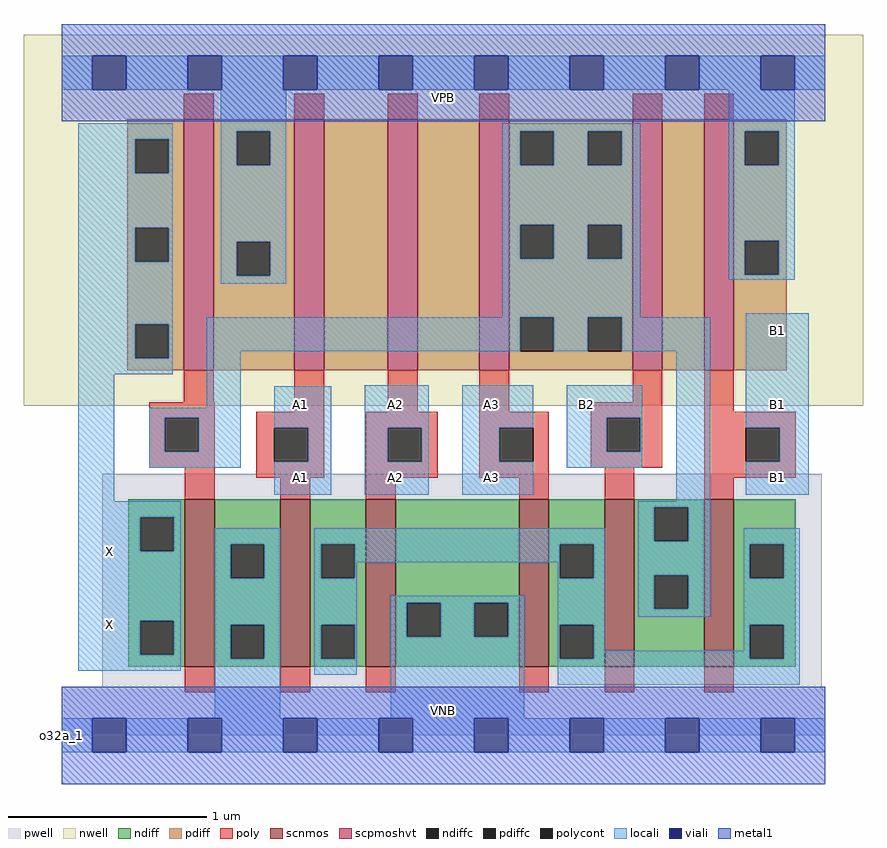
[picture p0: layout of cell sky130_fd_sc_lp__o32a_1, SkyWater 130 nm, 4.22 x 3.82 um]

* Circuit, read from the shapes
.subckt sky130_fd_sc_lp__o32a_1 A1 A2 A3 B1 B2 VGND VNB VPB VPWR X
XM1 VGND n1 X VNB sky130_fd_pr__nfet_01v8 w=0.84 l=0.15
XM2 n2 A1 VGND VNB sky130_fd_pr__nfet_01v8 w=0.84 l=0.15
XM3 VGND A2 n2 VNB sky130_fd_pr__nfet_01v8 w=0.84 l=0.15
XM4 n2 A3 VGND VNB sky130_fd_pr__nfet_01v8 w=0.84 l=0.15
XM5 n1 B2 n2 VNB sky130_fd_pr__nfet_01v8 w=0.84 l=0.15
XM6 n2 B1 n1 VNB sky130_fd_pr__nfet_01v8 w=0.84 l=0.15
XM7 VPWR n1 X VPB sky130_fd_pr__pfet_01v8_hvt w=1.26 l=0.15
XM8 n3 A1 VPWR VPB sky130_fd_pr__pfet_01v8_hvt w=1.26 l=0.15
XM9 n4 A2 n3 VPB sky130_fd_pr__pfet_01v8_hvt w=1.26 l=0.15
XM10 n1 A3 n4 VPB sky130_fd_pr__pfet_01v8_hvt w=1.26 l=0.15
XM11 n5 B2 n1 VPB sky130_fd_pr__pfet_01v8_hvt w=1.26 l=0.15
XM12 VPWR B1 n5 VPB sky130_fd_pr__pfet_01v8_hvt w=1.26 l=0.15
.ends

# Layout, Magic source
magic
tech sky130A
magscale 1 2
<< nwell >>
rect -38 331 806 704
<< pwell >>
rect 41 49 764 263
rect 0 0 768 49
<< scnmos >>
rect 124 69 154 237
rect 220 69 250 237
rect 306 69 336 237
rect 460 69 490 237
rect 546 69 576 237
rect 646 69 676 237
<< scpmoshvt >>
rect 123 367 153 619
rect 234 367 264 619
rect 328 367 358 619
rect 420 367 450 619
rect 574 367 604 619
rect 646 367 676 619
<< ndiff >>
rect 67 219 124 237
rect 67 185 79 219
rect 113 185 124 219
rect 67 115 124 185
rect 67 81 79 115
rect 113 81 124 115
rect 67 69 124 81
rect 154 192 220 237
rect 154 158 170 192
rect 204 158 220 192
rect 154 111 220 158
rect 154 77 170 111
rect 204 77 220 111
rect 154 69 220 77
rect 250 192 306 237
rect 250 158 261 192
rect 295 158 306 192
rect 250 111 306 158
rect 250 77 261 111
rect 295 77 306 111
rect 250 69 306 77
rect 336 133 460 237
rect 336 99 347 133
rect 381 99 415 133
rect 449 99 460 133
rect 336 69 460 99
rect 490 192 546 237
rect 490 158 501 192
rect 535 158 546 192
rect 490 111 546 158
rect 490 77 501 111
rect 535 77 546 111
rect 490 69 546 77
rect 576 229 646 237
rect 576 195 596 229
rect 630 195 646 229
rect 576 161 646 195
rect 576 127 596 161
rect 630 127 646 161
rect 576 69 646 127
rect 676 192 738 237
rect 676 158 692 192
rect 726 158 738 192
rect 676 111 738 158
rect 676 77 692 111
rect 726 77 738 111
rect 676 69 738 77
<< pdiff >>
rect 66 599 123 619
rect 66 565 74 599
rect 108 565 123 599
rect 66 510 123 565
rect 66 476 74 510
rect 108 476 123 510
rect 66 413 123 476
rect 66 379 74 413
rect 108 379 123 413
rect 66 367 123 379
rect 153 607 234 619
rect 153 573 176 607
rect 210 573 234 607
rect 153 496 234 573
rect 153 462 176 496
rect 210 462 234 496
rect 153 367 234 462
rect 264 367 328 619
rect 358 367 420 619
rect 450 607 574 619
rect 450 573 461 607
rect 495 573 529 607
rect 563 573 574 607
rect 450 513 574 573
rect 450 479 461 513
rect 495 479 529 513
rect 563 479 574 513
rect 450 420 574 479
rect 450 386 461 420
rect 495 386 529 420
rect 563 386 574 420
rect 450 367 574 386
rect 604 367 646 619
rect 676 607 729 619
rect 676 573 687 607
rect 721 573 729 607
rect 676 497 729 573
rect 676 463 687 497
rect 721 463 729 497
rect 676 367 729 463
<< ndiffc >>
rect 79 185 113 219
rect 79 81 113 115
rect 170 158 204 192
rect 170 77 204 111
rect 261 158 295 192
rect 261 77 295 111
rect 347 99 381 133
rect 415 99 449 133
rect 501 158 535 192
rect 501 77 535 111
rect 596 195 630 229
rect 596 127 630 161
rect 692 158 726 192
rect 692 77 726 111
<< pdiffc >>
rect 74 565 108 599
rect 74 476 108 510
rect 74 379 108 413
rect 176 573 210 607
rect 176 462 210 496
rect 461 573 495 607
rect 529 573 563 607
rect 461 479 495 513
rect 529 479 563 513
rect 461 386 495 420
rect 529 386 563 420
rect 687 573 721 607
rect 687 463 721 497
<< poly >>
rect 123 619 153 645
rect 234 619 264 645
rect 328 619 358 645
rect 420 619 450 645
rect 574 619 604 645
rect 646 619 676 645
rect 123 335 153 367
rect 88 319 154 335
rect 234 325 264 367
rect 328 325 358 367
rect 420 325 450 367
rect 574 335 604 367
rect 88 285 104 319
rect 138 285 154 319
rect 88 269 154 285
rect 124 237 154 269
rect 196 309 264 325
rect 196 275 214 309
rect 248 275 264 309
rect 196 259 264 275
rect 306 309 378 325
rect 306 275 328 309
rect 362 275 378 309
rect 306 259 378 275
rect 420 309 490 325
rect 420 275 440 309
rect 474 275 490 309
rect 420 259 490 275
rect 532 319 604 335
rect 532 285 548 319
rect 582 285 604 319
rect 532 269 604 285
rect 646 325 676 367
rect 646 309 738 325
rect 646 275 688 309
rect 722 275 738 309
rect 220 237 250 259
rect 306 237 336 259
rect 460 237 490 259
rect 546 237 576 269
rect 646 259 738 275
rect 646 237 676 259
rect 124 43 154 69
rect 220 43 250 69
rect 306 43 336 69
rect 460 43 490 69
rect 546 43 576 69
rect 646 43 676 69
<< polycont >>
rect 104 285 138 319
rect 214 275 248 309
rect 328 275 362 309
rect 440 275 474 309
rect 548 285 582 319
rect 688 275 722 309
<< locali >>
rect 0 649 31 683
rect 65 649 127 683
rect 161 649 223 683
rect 257 649 319 683
rect 353 649 415 683
rect 449 649 511 683
rect 545 649 607 683
rect 641 649 703 683
rect 737 649 768 683
rect 17 599 112 615
rect 17 565 74 599
rect 108 565 112 599
rect 17 510 112 565
rect 17 476 74 510
rect 108 476 112 510
rect 17 413 112 476
rect 160 607 226 649
rect 160 573 176 607
rect 210 573 226 607
rect 160 496 226 573
rect 160 462 176 496
rect 210 462 226 496
rect 160 454 226 462
rect 443 607 582 615
rect 443 573 461 607
rect 495 573 529 607
rect 563 573 582 607
rect 443 513 582 573
rect 443 479 461 513
rect 495 479 529 513
rect 563 479 582 513
rect 443 420 582 479
rect 671 607 737 649
rect 671 573 687 607
rect 721 573 737 607
rect 671 497 737 573
rect 671 463 687 497
rect 721 463 737 497
rect 671 458 737 463
rect 17 379 74 413
rect 108 379 112 413
rect 17 363 112 379
rect 146 386 461 420
rect 495 386 529 420
rect 563 386 652 420
rect 17 235 53 363
rect 146 329 180 386
rect 88 319 180 329
rect 88 285 104 319
rect 138 285 180 319
rect 88 269 180 285
rect 214 309 271 351
rect 248 275 271 309
rect 214 242 271 275
rect 305 309 369 352
rect 305 275 328 309
rect 362 275 369 309
rect 305 242 369 275
rect 403 309 474 352
rect 403 275 440 309
rect 403 242 474 275
rect 508 319 584 352
rect 508 285 548 319
rect 582 285 584 319
rect 508 269 584 285
rect 618 235 652 386
rect 688 309 751 424
rect 722 275 751 309
rect 688 242 751 275
rect 17 219 120 235
rect 17 185 79 219
rect 113 185 120 219
rect 580 229 652 235
rect 17 115 120 185
rect 17 81 79 115
rect 113 81 120 115
rect 17 65 120 81
rect 154 192 220 208
rect 154 158 170 192
rect 204 158 220 192
rect 154 111 220 158
rect 154 77 170 111
rect 204 77 220 111
rect 154 17 220 77
rect 254 192 546 208
rect 254 158 261 192
rect 295 174 501 192
rect 295 158 297 174
rect 254 111 297 158
rect 499 158 501 174
rect 535 158 546 192
rect 254 77 261 111
rect 295 77 297 111
rect 254 61 297 77
rect 331 133 465 140
rect 331 99 347 133
rect 381 99 415 133
rect 449 99 465 133
rect 331 17 465 99
rect 499 111 546 158
rect 580 195 596 229
rect 630 195 652 229
rect 580 161 652 195
rect 580 127 596 161
rect 630 127 652 161
rect 580 119 652 127
rect 686 192 742 208
rect 686 158 692 192
rect 726 158 742 192
rect 499 77 501 111
rect 535 85 546 111
rect 686 111 742 158
rect 686 85 692 111
rect 535 77 692 85
rect 726 77 742 111
rect 499 51 742 77
rect 0 -17 31 17
rect 65 -17 127 17
rect 161 -17 223 17
rect 257 -17 319 17
rect 353 -17 415 17
rect 449 -17 511 17
rect 545 -17 607 17
rect 641 -17 703 17
rect 737 -17 768 17
<< viali >>
rect 31 649 65 683
rect 127 649 161 683
rect 223 649 257 683
rect 319 649 353 683
rect 415 649 449 683
rect 511 649 545 683
rect 607 649 641 683
rect 703 649 737 683
rect 31 -17 65 17
rect 127 -17 161 17
rect 223 -17 257 17
rect 319 -17 353 17
rect 415 -17 449 17
rect 511 -17 545 17
rect 607 -17 641 17
rect 703 -17 737 17
<< metal1 >>
rect 0 683 768 715
rect 0 649 31 683
rect 65 649 127 683
rect 161 649 223 683
rect 257 649 319 683
rect 353 649 415 683
rect 449 649 511 683
rect 545 649 607 683
rect 641 649 703 683
rect 737 649 768 683
rect 0 617 768 649
rect 0 17 768 49
rect 0 -17 31 17
rect 65 -17 127 17
rect 161 -17 223 17
rect 257 -17 319 17
rect 353 -17 415 17
rect 449 -17 511 17
rect 545 -17 607 17
rect 641 -17 703 17
rect 737 -17 768 17
rect 0 -49 768 -17
<< labels >>
flabel pwell s 0 0 768 49 0 FreeSans 200 0 0 0 VNB
port 7 nsew ground bidirectional
flabel nwell s 0 617 768 666 0 FreeSans 200 0 0 0 VPB
port 8 nsew power bidirectional
rlabel comment s 0 0 0 0 4 o32a_1
flabel metal1 s 0 617 768 666 0 FreeSans 340 0 0 0 VPWR
port 9 nsew power bidirectional
flabel metal1 s 0 0 768 49 0 FreeSans 340 0 0 0 VGND
port 6 nsew ground bidirectional
flabel locali s 223 242 257 276 0 FreeSans 340 0 0 0 A1
port 1 nsew signal input
flabel locali s 223 316 257 350 0 FreeSans 340 0 0 0 A1
port 1 nsew signal input
flabel locali s 319 242 353 276 0 FreeSans 340 0 0 0 A2
port 2 nsew signal input
flabel locali s 319 316 353 350 0 FreeSans 340 0 0 0 A2
port 2 nsew signal input
flabel locali s 415 242 449 276 0 FreeSans 340 0 0 0 A3
port 3 nsew signal input
flabel locali s 415 316 449 350 0 FreeSans 340 0 0 0 A3
port 3 nsew signal input
flabel locali s 703 242 737 276 0 FreeSans 340 0 0 0 B1
port 4 nsew signal input
flabel locali s 703 316 737 350 0 FreeSans 340 0 0 0 B1
port 4 nsew signal input
flabel locali s 703 390 737 424 0 FreeSans 340 0 0 0 B1
port 4 nsew signal input
flabel locali s 511 316 545 350 0 FreeSans 340 0 0 0 B2
port 5 nsew signal input
flabel locali s 31 94 65 128 0 FreeSans 340 0 0 0 X
port 10 nsew signal output
flabel locali s 31 168 65 202 0 FreeSans 340 0 0 0 X
port 10 nsew signal output
<< properties >>
string LEFsite unit
string LEFclass CORE
string FIXED_BBOX 0 0 768 666
string GDS_FILE $PDKPATH/libs.ref/sky130_fd_sc_lp/gds/sky130_fd_sc_lp.gds
string LEFsymmetry X Y R90
string GDS_END 1773022
string GDS_START 1765370
<< end >>
